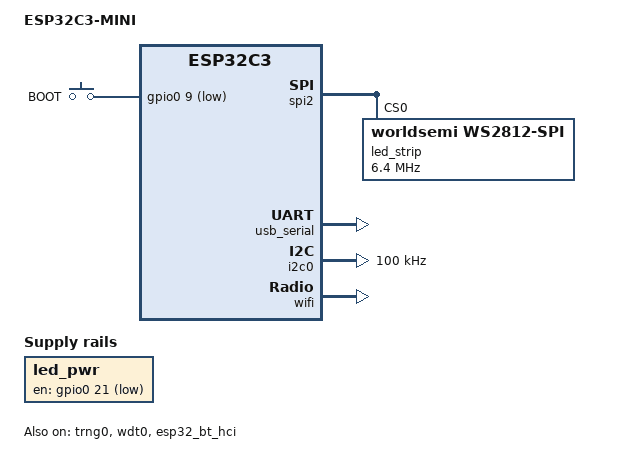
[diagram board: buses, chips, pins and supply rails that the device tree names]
/*
 * Copyright (c) 2024 Arrel Neumiller
 * SPDX-License-Identifier: Apache-2.0
 */

/dts-v1/;

#include <espressif/esp32c3/esp32c3_fx4.dtsi>
#include "esp32c3_mini-pinctrl.dtsi"
#include <zephyr/dt-bindings/input/input-event-codes.h>
#include <zephyr/dt-bindings/led/led.h>
#include <espressif/partitions_0x0_default.dtsi>

/ {
	model = "ESP32C3-MINI";
	compatible = "zy17w,esp32c3_mini";

	chosen {
		zephyr,sram = &sram1;
		zephyr,console = &usb_serial;
		zephyr,shell-uart = &usb_serial;
		zephyr,flash = &flash0;
		zephyr,code-partition = &slot0_partition;
	};

	aliases {
		led-strip = &led_strip;
		sw0 = &user_button1;
		i2c-0 = &i2c0;
		watchdog0 = &wdt0;
	};

	led_pwr: led-pwr-ctrl {
		compatible = "regulator-fixed";
		regulator-name = "led-pwr-ctrl";
		enable-gpios = <&gpio0 21 GPIO_ACTIVE_LOW>;
		regulator-boot-off;
	};

	gpio_keys {
		compatible = "gpio-keys";

		user_button1: button_1 {
			label = "BOOT";
			gpios = <&gpio0 9 (GPIO_PULL_UP | GPIO_ACTIVE_LOW)>;
			zephyr,code = <INPUT_KEY_0>;
		};
	};
};

&spi2 {
	#address-cells = <1>;
	#size-cells = <0>;
	status = "okay";
	pinctrl-0 = <&spim2_default>;
	pinctrl-names = "default";

	led_strip: ws2812@0 {
		compatible = "worldsemi,ws2812-spi";
		reg = <0>;
		spi-max-frequency = <6400000>;
		chain-length = <17>;
		spi-cpha;

		spi-one-frame = <0xf0>;
		spi-zero-frame = <0xc0>;
		color-mapping = <LED_COLOR_ID_GREEN
				 LED_COLOR_ID_RED
				 LED_COLOR_ID_BLUE>;
	};
};

&usb_serial {
	status = "okay";
};

&i2c0 {
	status = "okay";
	clock-frequency = <I2C_BITRATE_STANDARD>;
	pinctrl-0 = <&i2c0_default>;
	pinctrl-names = "default";
};

&trng0 {
	status = "okay";
};

&gpio0 {
	status = "okay";
};

&wdt0 {
	status = "okay";
};

&uart0 {
	status = "disabled";
};

&esp32_bt_hci {
	status = "okay";
};

&wifi {
	status = "okay";
};
